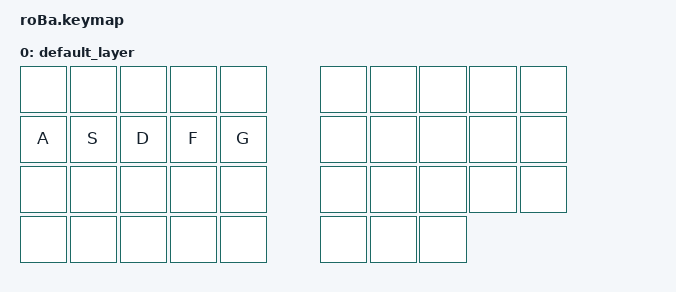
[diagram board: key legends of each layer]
#include <behaviors.dtsi>
#include <dt-bindings/zmk/keys.h>
#include <dt-bindings/zmk/bt.h>
#include <dt-bindings/zmk/mouse.h>

/ {
    keymap {
        compatible = "zmk,keymap";

        default_layer {
            bindings = <
&none  &none  &none  &none  &none         &none  &none  &none  &none  &none
&kp A  &kp S  &kp D  &kp F  &kp G         &none  &none  &none  &none  &none
&none  &none  &none  &none  &none         &none  &none  &none  &none  &none
&none  &none  &none  &none  &none         &none  &none  &none
            >;
        };
    };
};
